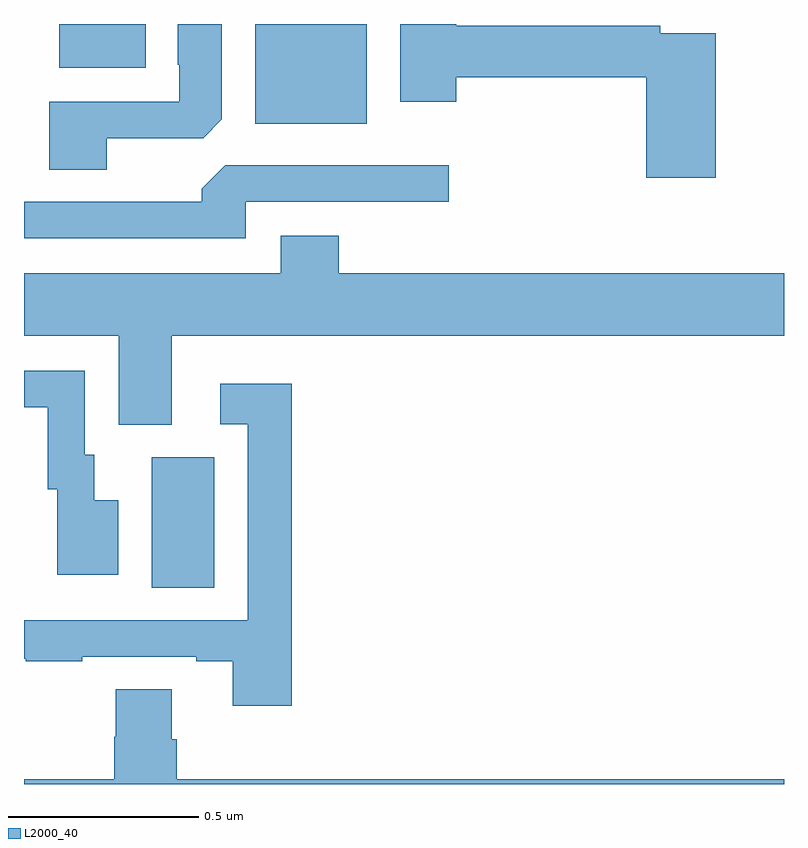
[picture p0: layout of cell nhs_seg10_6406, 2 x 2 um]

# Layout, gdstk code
import gdstk
lib = gdstk.Library(unit=1e-6, precision=1e-09)
def R(c, l, rs):  # rectangles x0, y0, x1, y1
    for r in rs: c.add(gdstk.rectangle(r[:2], r[2:], *l))
def P(c, l, *ps):  # polygons
    for p in ps: c.add(gdstk.Polygon(p, *l))
L2000_40 = (2000, 40)

nhs_seg10_6406 = lib.new_cell('nhs_seg10_6406')
R(nhs_seg10_6406, L2000_40, [(191.336,1269.016,191.5,1269.36), (191.609,1270.238,191.902,1270.5), (191.093,1270.385,191.32,1270.5)])
P(nhs_seg10_6406, L2000_40, [(192.821,1270.476),(192.674,1270.476),(192.674,1270.496),(192.137,1270.496),(192.137,1270.5),(191.99,1270.5),(191.99,1270.296),(192.137,1270.296),(192.137,1270.36),(192.638,1270.36),(192.638,1270.095),(192.821,1270.095)],
  [(191.218,1270.2),(191.472,1270.2),(191.521,1270.249),(191.521,1270.5),(191.405,1270.5),(191.405,1270.393),(191.409,1270.393),(191.409,1270.296),(191.066,1270.296),(191.066,1270.117),(191.218,1270.117)],
  [(191.583,1270.032),(192.118,1270.032),(192.118,1270.128),(191.529,1270.128),(191.468,1270.066),(191.468,1270.032),(191,1270.032),(191,1269.936),(191.583,1269.936)],
  [(191.389,1269.68),(193,1269.68),(193,1269.844),(191.828,1269.844),(191.828,1269.943),(191.675,1269.943),(191.675,1269.844),(191,1269.844),(191,1269.68),(191.249,1269.68),(191.249,1269.445),(191.389,1269.445)],
  [(191.248,1269.247),(191.185,1269.247),(191.185,1269.366),(191.16,1269.366),(191.16,1269.588),(191,1269.588),(191,1269.492),(191.063,1269.492),(191.063,1269.276),(191.087,1269.276),(191.087,1269.051),(191.248,1269.051)],
  [(191.705,1269.553),(191.517,1269.553),(191.517,1269.447),(191.589,1269.447),(191.589,1268.931),(191,1268.931),(191,1268.829),(191.005,1268.829),(191.005,1268.823),(191.153,1268.823),(191.153,1268.835),(191.453,1268.835),(191.453,1268.823),(191.549,1268.823),(191.549,1268.706),(191.705,1268.706)],
  [(193,1268.512),(191.402,1268.512),(191.402,1268.618),(191.389,1268.618),(191.389,1268.75),(191.242,1268.75),(191.242,1268.625),(191.237,1268.625),(191.237,1268.512),(191,1268.512),(191,1268.5),(193,1268.5)])

lib.write_gds('nhs_seg10_6406.gds')
